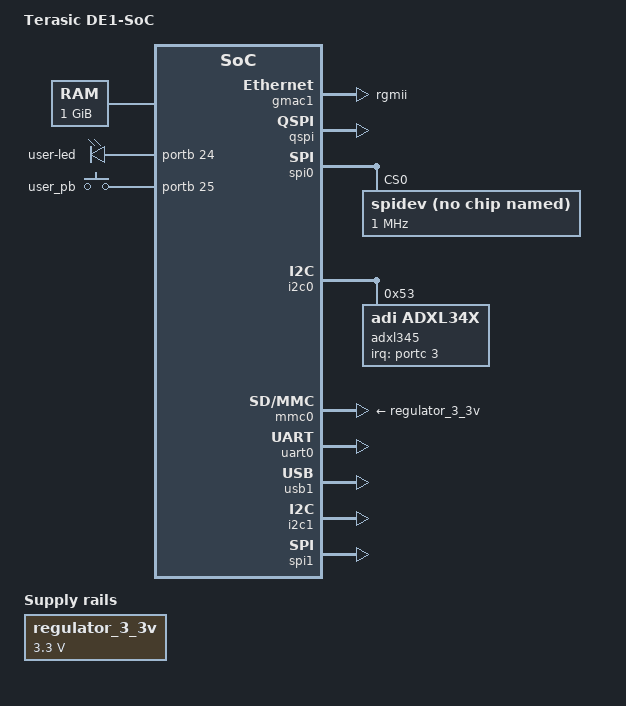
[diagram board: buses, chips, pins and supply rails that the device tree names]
/*
 *  Copyright (C) 2016 Stephen Arnold <nerdboy@gentoo.org>
 *
 * This program is free software; you can redistribute it and/or modify
 * it under the terms of the GNU General Public License as published by
 * the Free Software Foundation; either version 2 of the License, or
 * (at your option) any later version.
 *
 * This program is distributed in the hope that it will be useful,
 * but WITHOUT ANY WARRANTY; without even the implied warranty of
 * MERCHANTABILITY or FITNESS FOR A PARTICULAR PURPOSE.  See the
 * GNU General Public License for more details.
 *
 * You should have received a copy of the GNU General Public License
 * along with this program.  If not, see <http://www.gnu.org/licenses/>.
 */

#include "socfpga_cyclone5.dtsi"
#include <dt-bindings/interrupt-controller/irq.h>

/ {
	model = "Terasic DE1-SoC";
	compatible = "altr,socfpga-cyclone5", "altr,socfpga";

	chosen {
		bootargs = "earlyprintk";
		stdout-path = "serial0:115200n8";
	};

	memory {
		name = "memory";
		device_type = "memory";
		reg = <0x0 0x40000000>; /* 1GB */
	};

	aliases {
		ethernet0 = &gmac1;
	};

	regulator_3_3v: 3-3-v-regulator {
		compatible = "regulator-fixed";
		regulator-name = "3.3V";
		regulator-min-microvolt = <3300000>;
		regulator-max-microvolt = <3300000>;
	};

	leds {
		compatible = "gpio-leds";
		user {
			label = "user-led";
			gpios = <&portb 24 0>;
			linux,default-trigger = "heartbeat";
		};
	};

        gpio_keys {
		compatible = "gpio-keys";
		#address-cells = <1>;
		#size-cells = <0>;

		user_pb {
			label = "user_pb";
			gpios = <&portb 25 0>;
			linux,code = <28>;
			gpio-key,wakeup;
                };
        };

	alt_vip_vfr_0: vip@0xff260000 {
		compatible = "altr,vip-frame-reader-1.0";
		reg = <0xff260100 0x00000080>;
		max-width = <1024>;
		max-height = <768>;
		mem-word-width = <128>;
		bits-per-color = <8>;
	};

	sysid@2000 {
		compatible = "altr,sysid-1.0";
		reg = <0xff202000 0x8>;
	};
};

&osc1 {
	clock-frequency = <25000000>;
};

&gmac1 {
	status = "okay";
	phy-mode = "rgmii";

	txd0-skew-ps = <0>; /* -420ps */
	txd1-skew-ps = <0>; /* -420ps */
	txd2-skew-ps = <0>; /* -420ps */
	txd3-skew-ps = <0>; /* -420ps */
	rxd0-skew-ps = <420>; /* 0ps */
	rxd1-skew-ps = <420>; /* 0ps */
	rxd2-skew-ps = <420>; /* 0ps */
	rxd3-skew-ps = <420>; /* 0ps */
	txen-skew-ps = <0>; /* -420ps */
	txc-skew-ps = <1860>; /* 960ps */
	rxdv-skew-ps = <420>; /* 0ps */
	rxc-skew-ps = <1680>; /* 780ps */

	max-frame-size = <3800>;
};

&gpio0 {
	status = "okay";
};

&gpio1 {
	status = "okay";
};

&gpio2 {
	status = "okay";
};

&qspi {
	status = "okay";
};

&spi0 {
	status = "okay";

	spidev@0 {
		/* spidev causes a WARN_ON() so spoof with DAC compat */
		compatible = "rohm,dh2228fv";
		reg = <0>;      /* chip select */
		spi-max-frequency = <1000000>;
		enable-dma = <1>;
	};
};

&i2c0 {
	status = "okay";
	speed-mode = <0>;

	adxl345: adxl345@0 {
		compatible = "adi,adxl34x";
		reg = <0x53>;

		interrupt-parent = <&portc>;
		interrupts = <3 2>;
	};
};

&mmc0 {
	vmmc-supply = <&regulator_3_3v>;
	vqmmc-supply = <&regulator_3_3v>;
};

&uart0 {
	status = "okay";
};

&usb1 {
	status = "okay";
};

&i2c1 {
	status = "okay";
	speed-mode = <0>;
};

&spi1 {
	status = "okay";
};
